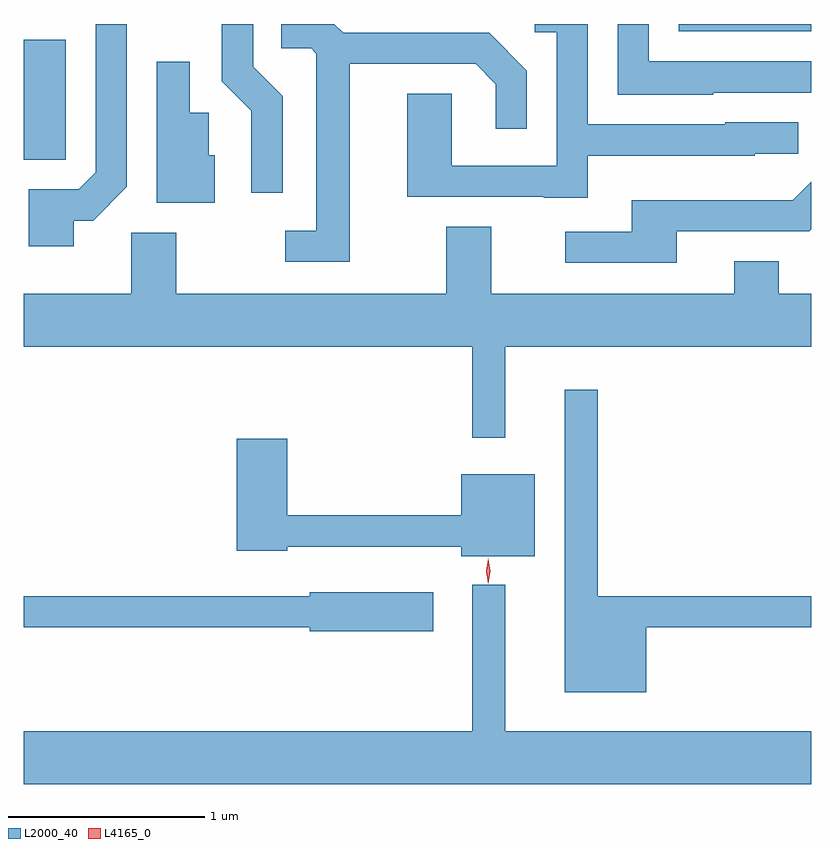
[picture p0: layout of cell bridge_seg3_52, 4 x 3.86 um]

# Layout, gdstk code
import gdstk
lib = gdstk.Library(unit=1e-6, precision=1e-09)
def R(c, l, rs):  # rectangles x0, y0, x1, y1
    for r in rs: c.add(gdstk.rectangle(r[:2], r[2:], *l))
def P(c, l, *ps):  # polygons
    for p in ps: c.add(gdstk.Polygon(p, *l))
L2000_40 = (2000, 40)
L4165_0 = (4165, 0)

bridge_seg3_52 = lib.new_cell('bridge_seg3_52')
R(bridge_seg3_52, L2000_40, [(1245.744,1175.806,1245.959,1176.414), (1249.071,1176.456,1249.744,1176.494)])
P(bridge_seg3_52, L2000_40, [(1247.399,1176.291),(1248.039,1176.291),(1248.141,1176.189),(1248.141,1175.963),(1248.299,1175.963),(1248.299,1176.257),(1248.107,1176.449),(1247.367,1176.449),(1247.322,1176.494),(1247.053,1176.494),(1247.053,1176.371),(1247.204,1176.371),(1247.231,1176.344),(1247.231,1175.444),(1247.073,1175.444),(1247.073,1175.286),(1247.399,1175.286)],
  [(1248.609,1175.826),(1249.455,1175.826),(1249.455,1175.836),(1249.678,1175.836),(1249.678,1175.994),(1249.305,1175.994),(1249.305,1175.984),(1248.609,1175.984),(1248.609,1176.494),(1248.338,1176.494),(1248.338,1176.451),(1248.451,1176.451),(1248.451,1175.774),(1247.919,1175.774),(1247.919,1176.139),(1247.691,1176.139),(1247.691,1175.616),(1248.385,1175.616),(1248.385,1175.611),(1248.609,1175.611)],
  [(1245.999,1175.496),(1246.097,1175.496),(1246.269,1175.669),(1246.269,1176.494),(1246.111,1176.494),(1246.111,1175.742),(1246.024,1175.654),(1245.771,1175.654),(1245.771,1175.366),(1245.999,1175.366)],
  [(1247.059,1176.127),(1246.909,1176.277),(1246.909,1176.494),(1246.751,1176.494),(1246.751,1176.204),(1246.901,1176.054),(1246.901,1175.638),(1247.059,1175.638)],
  [(1249.245,1176.146),(1249.744,1176.146),(1249.744,1176.304),(1248.919,1176.304),(1248.919,1176.494),(1248.761,1176.494),(1248.761,1176.136),(1249.245,1176.136)],
  [(1246.714,1175.829),(1246.684,1175.829),(1246.684,1176.044),(1246.589,1176.044),(1246.589,1176.303),(1246.421,1176.303),(1246.421,1175.586),(1246.714,1175.586)],
  [(1249.059,1175.441),(1249.732,1175.441),(1249.744,1175.453),(1249.744,1175.694),(1249.649,1175.599),(1248.831,1175.599),(1248.831,1175.439),(1248.493,1175.439),(1248.493,1175.281),(1249.059,1175.281)],
  [(1248.189,1174.856),(1249.744,1174.856),(1249.744,1175.124),(1249.579,1175.124),(1249.579,1175.289),(1249.351,1175.289),(1249.351,1175.124),(1248.119,1175.124),(1248.119,1175.464),(1247.891,1175.464),(1247.891,1175.124),(1246.519,1175.124),(1246.519,1175.434),(1246.291,1175.434),(1246.291,1175.124),(1245.744,1175.124),(1245.744,1174.856),(1248.021,1174.856),(1248.021,1174.393),(1248.189,1174.393)],
  [(1248.904,1173.431),(1249.744,1173.431),(1249.744,1173.589),(1248.659,1173.589),(1248.659,1174.638),(1248.491,1174.638),(1248.491,1173.101),(1248.904,1173.101)],
  [(1248.339,1174.209),(1247.966,1174.209),(1247.966,1173.999),(1247.084,1173.999),(1247.084,1174.389),(1246.826,1174.389),(1246.826,1173.821),(1247.084,1173.821),(1247.084,1173.841),(1247.966,1173.841),(1247.966,1173.791),(1248.339,1173.791)],
  [(1249.744,1172.904),(1248.189,1172.904),(1248.189,1173.648),(1248.021,1173.648),(1248.021,1172.904),(1245.744,1172.904),(1245.744,1172.636),(1249.744,1172.636)],
  [(1247.824,1173.609),(1247.196,1173.609),(1247.196,1173.589),(1245.744,1173.589),(1245.744,1173.431),(1247.196,1173.431),(1247.196,1173.411),(1247.824,1173.411)])
P(bridge_seg3_52, L4165_0, [(1248.103,1173.653),(1248.103,1173.653),(1248.093,1173.717),(1248.102,1173.78),(1248.103,1173.781),(1248.103,1173.78),(1248.113,1173.717),(1248.104,1173.653)])

lib.write_gds('bridge_seg3_52.gds')
